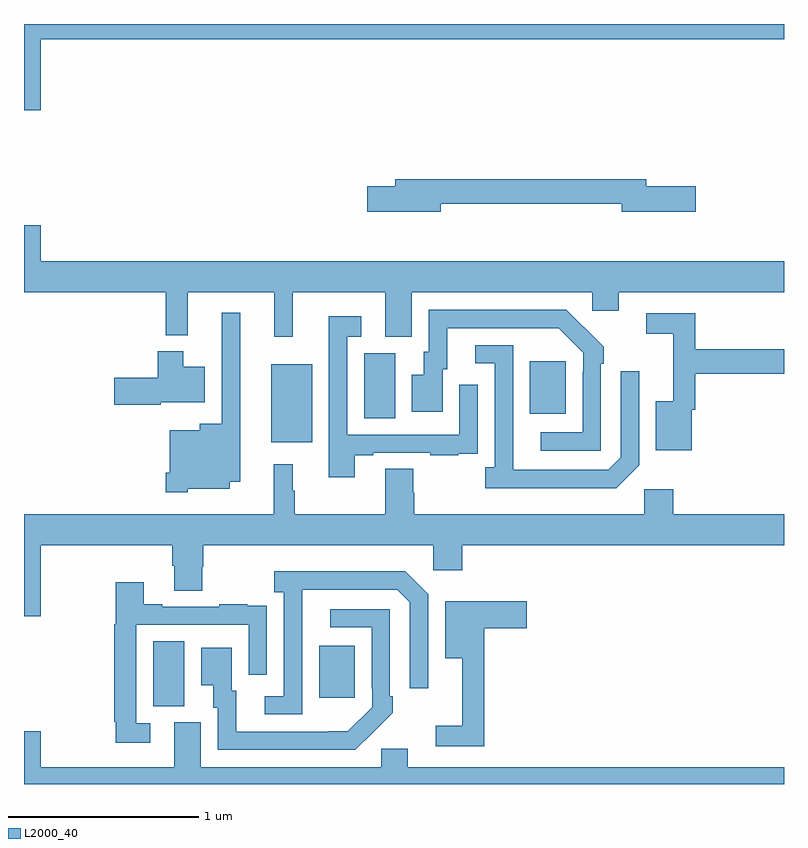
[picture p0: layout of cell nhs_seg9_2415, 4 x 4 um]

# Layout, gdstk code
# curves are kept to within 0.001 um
import gdstk
lib = gdstk.Library(unit=1e-6, precision=1e-09)
def R(c, l, rs):  # rectangles x0, y0, x1, y1
    for r in rs: c.add(gdstk.rectangle(r[:2], r[2:], *l))
def P(c, l, *ps):  # polygons
    for p in ps: c.add(gdstk.Polygon(p, *l))
L2000_40 = (2000, 40)

nhs_seg9_2415 = lib.new_cell('nhs_seg9_2415')
R(nhs_seg9_2415, L2000_40, [(249.68,1192.909,249.844,1193.252), (250.553,1192.953,250.741,1193.227), (250.301,1194.299,250.516,1194.709), (250.79,1194.424,250.954,1194.768), (251.663,1194.449,251.851,1194.724)])
P(nhs_seg9_2415, L2000_40, [(249.088,1196.42),(253,1196.42),(253,1196.5),(249,1196.5),(249,1196.046),(249.088,1196.046)],
  [(251.194,1195.554),(252.146,1195.554),(252.146,1195.511),(252.535,1195.511),(252.535,1195.646),(252.274,1195.646),(252.274,1195.682),(250.955,1195.682),(250.955,1195.646),(250.806,1195.646),(250.806,1195.511),(251.194,1195.511)],
  [(251.041,1195.088),(251.991,1195.088),(251.991,1194.99),(252.13,1194.99),(252.13,1195.088),(253,1195.088),(253,1195.252),(249.088,1195.252),(249.088,1195.441),(249,1195.441),(249,1195.088),(249.745,1195.088),(249.745,1194.863),(249.863,1194.863),(249.863,1195.088),(250.316,1195.088),(250.316,1194.855),(250.415,1194.855),(250.415,1195.088),(250.901,1195.088),(250.901,1194.853),(251.041,1194.853)],
  [(252.036,1194.713),(252.051,1194.713),(252.051,1194.801),(251.854,1194.996),(251.13,1194.996),(251.13,1194.774),(251.105,1194.774),(251.105,1194.655),(251.042,1194.655),(251.042,1194.459),(251.203,1194.459),(251.203,1194.684),(251.227,1194.684),(251.227,1194.9),(251.815,1194.9),(251.943,1194.771),(251.943,1194.671),(251.94,1194.671),(251.94,1194.351),(251.721,1194.351),(251.721,1194.255),(252.036,1194.255)],
  [(249.861,1194.053),(250.084,1194.053),(250.084,1194.092),(250.138,1194.092),(250.138,1194.979),(250.041,1194.979),(250.041,1194.397),(249.926,1194.397),(249.926,1194.361),(249.767,1194.361),(249.767,1194.139),(249.746,1194.139),(249.746,1194.035),(249.861,1194.035)],
  [(252.514,1194.471),(252.533,1194.471),(252.533,1194.658),(253,1194.658),(253,1194.787),(252.533,1194.787),(252.533,1194.978),(252.276,1194.978),(252.276,1194.87),(252.416,1194.87),(252.416,1194.514),(252.326,1194.514),(252.326,1194.257),(252.514,1194.257)],
  [(250.741,1194.231),(250.837,1194.231),(250.837,1194.243),(251.137,1194.243),(251.137,1194.231),(251.285,1194.231),(251.285,1194.237),(251.387,1194.237),(251.387,1194.346),(251.388,1194.346),(251.388,1194.601),(251.292,1194.601),(251.292,1194.339),(250.701,1194.339),(250.701,1194.855),(250.774,1194.855),(250.774,1194.961),(250.605,1194.961),(250.605,1194.114),(250.741,1194.114)],
  [(252.237,1194.177),(252.237,1194.673),(252.141,1194.673),(252.141,1194.219),(252.075,1194.153),(251.575,1194.153),(251.574,1194.81),(251.376,1194.81),(251.376,1194.714),(251.478,1194.714),(251.478,1194.166),(251.427,1194.166),(251.427,1194.056),(252.116,1194.056)],
  [(249.72,1194.509),(249.952,1194.509),(249.952,1194.697),(249.838,1194.697),(249.838,1194.778),(249.704,1194.778),(249.704,1194.639),(249.474,1194.639),(249.474,1194.497),(249.72,1194.497)],
  [(249.088,1193.756),(249.779,1193.756),(249.779,1193.65),(249.791,1193.65),(249.791,1193.518),(249.939,1193.518),(249.939,1193.643),(249.944,1193.643),(249.944,1193.756),(251.154,1193.756),(251.154,1193.625),(251.306,1193.625),(251.306,1193.756),(253,1193.756),(253,1193.92),(252.416,1193.92),(252.416,1194.052),(252.264,1194.052),(252.264,1193.92),(251.054,1193.92),(251.054,1194.033),(251.049,1194.033),(251.049,1194.158),(250.901,1194.158),(250.901,1193.92),(250.426,1193.92),(250.426,1194.044),(250.415,1194.044),(250.415,1194.184),(250.315,1194.184),(250.315,1193.92),(249,1193.92),(249,1193.382),(249.088,1193.382)],
  [(250.464,1193.323),(250.465,1193.523),(250.965,1193.523),(251.031,1193.457),(251.031,1193.004),(251.127,1193.004),(251.127,1193.499),(251.006,1193.62),(250.317,1193.62),(250.317,1193.51),(250.368,1193.51),(250.368,1192.962),(250.266,1192.962),(250.266,1192.866),(250.464,1192.866)],
  [(249.664,1192.821),(249.591,1192.821),(249.591,1193.337),(250.182,1193.337),(250.182,1193.076),(250.278,1193.076),(250.278,1193.33),(250.277,1193.33),(250.277,1193.439),(250.175,1193.439),(250.175,1193.446),(250.027,1193.446),(250.027,1193.433),(249.727,1193.433),(249.727,1193.446),(249.631,1193.446),(249.631,1193.563),(249.483,1193.563),(249.483,1193.34),(249.475,1193.34),(249.475,1192.828),(249.483,1192.828),(249.483,1192.716),(249.664,1192.716)],
  [(251.423,1193.321),(251.647,1193.321),(251.647,1193.463),(251.216,1193.463),(251.216,1193.162),(251.306,1193.162),(251.306,1192.807),(251.166,1192.807),(251.166,1192.698),(251.423,1192.698)],
  [(250.835,1192.771),(250.836,1192.77),(250.941,1192.875),(250.941,1192.963),(250.926,1192.963),(250.926,1193.421),(250.611,1193.421),(250.611,1193.325),(250.83,1193.325),(250.83,1193.005),(250.833,1193.005),(250.833,1192.905),(250.705,1192.777),(250.117,1192.776),(250.117,1192.992),(250.093,1192.992),(250.093,1193.218),(249.932,1193.218),(249.932,1193.021),(249.995,1193.021),(249.995,1192.902),(250.02,1192.902),(250.02,1192.68),(250.744,1192.68)],
  [(253,1192.588),(251.02,1192.588),(251.02,1192.686),(250.881,1192.686),(250.881,1192.588),(249.931,1192.588),(249.931,1192.824),(249.791,1192.824),(249.791,1192.588),(249.088,1192.588),(249.088,1192.777),(249,1192.777),(249,1192.5),(253,1192.5)])

lib.write_gds('nhs_seg9_2415.gds')
